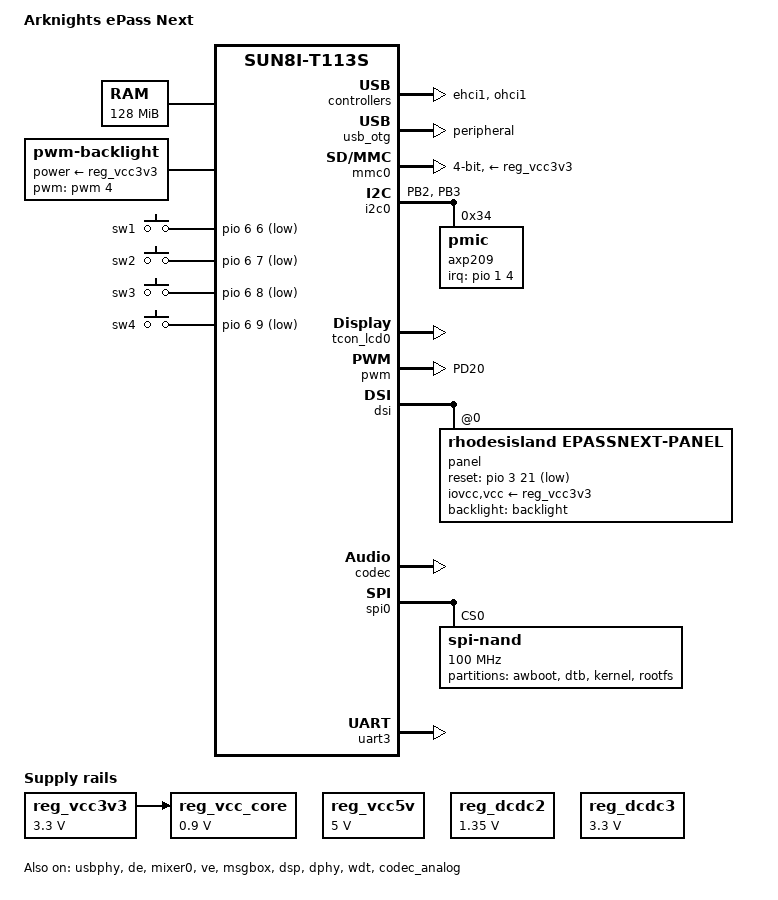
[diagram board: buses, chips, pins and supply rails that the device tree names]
// SPDX-License-Identifier: (GPL-2.0+ OR MIT)
/*
 * Copyright (C) 2025 Lukas Schmid <lukas.schmid@netcube.li>
 */

/dts-v1/;
#include "sun8i-t113s.dtsi"

#include <dt-bindings/gpio/gpio.h>
#include <dt-bindings/interrupt-controller/irq.h>
#include <dt-bindings/pwm/pwm.h>
#include <dt-bindings/input/input.h>

/ {
	model = "Arknights ePass Next";
	compatible = "rhodesisland,epass-next", "allwinner,sun8i-t113s";

	aliases {
		serial3 = &uart3; // Console UART on Card Edge
	};

	chosen {
		stdout-path = "serial3:115200n8";
		bootargs = "mem=128M ubi.mtd=3 rootfstype=ubifs root=ubi0:rootfs rw rootwait debug loglevel=8";
	};

	memory {
	    reg = <0x40000000 0x8000000>;
	};

	reg_vcc3v3: regulator-3v3 {
		compatible = "regulator-fixed";
		regulator-name = "vcc-3v3";
		regulator-min-microvolt = <3300000>;
		regulator-max-microvolt = <3300000>;
		regulator-always-on;
	};

	reg_vcc_core: regulator-core {
		compatible = "regulator-fixed";
		regulator-name = "vcc-core";
		regulator-min-microvolt = <900000>;
		regulator-max-microvolt = <900000>;
		vin-supply = <&reg_vcc3v3>;
	};

	backlight: backlight {
		compatible = "pwm-backlight";
		pwms = <&pwm 4 50000 0>;
		brightness-levels = <0 4 8 16 32 64 128 196 220 255>;
		default-brightness-level = <9>;
		power-supply = <&reg_vcc3v3>;
	};

	/*backlight: backlight {
		compatible = "gpio-backlight";
		gpios = <&pio 3 20 GPIO_ACTIVE_HIGH>;
		default-on;
		status = "okay";
	};*/

	gpio-keys {
		compatible = "gpio-keys";

		switch-1 {
			label = "sw1";
			linux,code = <BTN_1>;
			gpios = <&pio 6 6 (GPIO_ACTIVE_LOW | GPIO_PULL_UP)>;
		};

		switch-2 {
			label = "sw2";
			linux,code = <BTN_2>;
			gpios = <&pio 6 7 (GPIO_ACTIVE_LOW | GPIO_PULL_UP)>;
		};

		switch-3 {
			label = "sw3";
			linux,code = <BTN_3>;
			gpios = <&pio 6 8 (GPIO_ACTIVE_LOW | GPIO_PULL_UP)>;
		};

		switch-4 {
			label = "sw4";
			linux,code = <BTN_4>;
			gpios = <&pio 6 9 (GPIO_ACTIVE_LOW | GPIO_PULL_UP)>;
		};
	};

	/* board wide 5V supply directly from the USB-C socket */
	reg_vcc5v: regulator-5v {
		compatible = "regulator-fixed";
		regulator-name = "vcc-5v";
		regulator-min-microvolt = <5000000>;
		regulator-max-microvolt = <5000000>;
		regulator-always-on;
	};
};

&cpu0 {
	cpu-supply = <&reg_vcc_core>;
};

&cpu1 {
	cpu-supply = <&reg_vcc_core>;
};

&dcxo {
	clock-frequency = <24000000>;
};

&ehci0 {
	status = "disabled";
};

&ehci1 {
	status = "okay";
};

&ohci0 {
	status = "disabled";
};

&ohci1 {
	status = "okay";
};

&usb_otg {
	dr_mode = "peripheral";
	status = "okay";
};

&usbphy {
	usb0_vbus-supply = <&reg_vcc5v>;
	usb1_vbus-supply = <&reg_vcc5v>;
	status = "okay";
};

&mmc0 {
	pinctrl-0 = <&mmc0_pins>;
	pinctrl-names = "default";
	vmmc-supply = <&reg_vcc3v3>;
	broken-cd;
	disable-wp;
	bus-width = <4>;
	status = "okay";
};

&pio {
	vcc-pb-supply = <&reg_vcc3v3>;
	vcc-pc-supply = <&reg_vcc3v3>;
	vcc-pd-supply = <&reg_vcc3v3>;
	vcc-pe-supply = <&reg_vcc3v3>;
	vcc-pf-supply = <&reg_vcc3v3>;
	vcc-pg-supply = <&reg_vcc3v3>;


	/omit-if-no-ref/
	i2c0_pb_pins: i2c2-pd-pins {
		pins = "PB2", "PB3";
		function = "i2c0";
	};

	pwm_pin: pwm-pin {
		pins = "PD20";
		function = "pwm4";
	};
};

&i2c0 {
	pinctrl-0 = <&i2c0_pb_pins>;
	pinctrl-names = "default";
	status = "okay";

	axp209: pmic@34 {
		reg = <0x34>;
		interrupt-parent = <&pio>;
		interrupts = <1 4 IRQ_TYPE_EDGE_FALLING>; /* PB4 */
	};
};

#include "axp209.dtsi"

&reg_dcdc2 {
	regulator-min-microvolt = <1350000>;
	regulator-max-microvolt = <1350000>;
	regulator-always-on;
};

&reg_dcdc3 {
	regulator-min-microvolt = <3300000>;
	regulator-max-microvolt = <3300000>;
	regulator-always-on;
};

&de {
	status = "okay";
	iommus = <&iommu 2 1>;
};

&mixer0 {
    status = "okay";
};

&ve {
	status = "okay";
	iommus = <&iommu 0 1>;
};

&msgbox {
    status = "okay";
};

&dsp {
    status = "okay";
};


&tcon_lcd0 {
	status = "okay";
};

&pwm {
	pinctrl-names = "default";
	pinctrl-0 = <&pwm_pin>;
	status = "okay";
};

&dsi {
	#address-cells = <1>;
	#size-cells = <0>;

	status = "okay";

	pinctrl-0 = <&dsi_4lane_pins>;
	pinctrl-names = "default";

	panel {
	    compatible = "rhodesisland,epassnext-panel";
	    reg = <0>;
		backlight = <&backlight>;
		iovcc-supply = <&reg_vcc3v3>;
		reset-gpios = <&pio 3 21 GPIO_ACTIVE_LOW>; /* PD21 */
		rotation = <0>;
		vcc-supply = <&reg_vcc3v3>;
	};
};

&dphy {
	status = "okay";
};

&wdt {
	status = "okay";
};

&codec {
 	allwinner,audio-routing = "Headphone", "HP";
	status = "okay";
};

&codec_analog {
	status = "okay";
};

&spi0 {
	#address-cells = <1>;
	#size-cells = <0>;
	pinctrl-0 = <&spi0_pins>, <&spi0_hold_pin>, <&spi0_wp_pin>;
	pinctrl-names = "default";
	cs-gpios = <0>;
	status = "okay";

	spi-nand@0 {
		#address-cells = <1>;
		#size-cells = <1>;
		compatible = "spi-nand";
		reg = <0>;
		spi-max-frequency = <100000000>;
		status = "okay";

		partitions {
			compatible = "fixed-partitions";
			#address-cells = <1>;
			#size-cells = <1>;

			partition@0 {
				label = "awboot";
				reg = <0x0 0x40000>;	/* 256K */
				read-only;
			};

			partition@40000 {
					label = "dtb";
					reg = <0x40000 0x40000>;  /* 256k */
					read-only;
			};

			partition@80000 {
					label = "kernel";
					reg = <0x80000 0x780000>;  /* 7.5MB */
					read-only;
			};

			partition@800000 {
					label = "rootfs";
					reg = <0x800000 0x7800000>;
			};
		};
	};
};

&spi1 {
	#address-cells = <1>;
	#size-cells = <0>;
	pinctrl-0 = <&spi1_pins>;
	pinctrl-names = "default";
	cs-gpios = <0>;
	status = "disabled";
};

&uart3 {
	pinctrl-0 = <&uart3_pb_pins>;
	pinctrl-names = "default";
	status = "okay";
};
